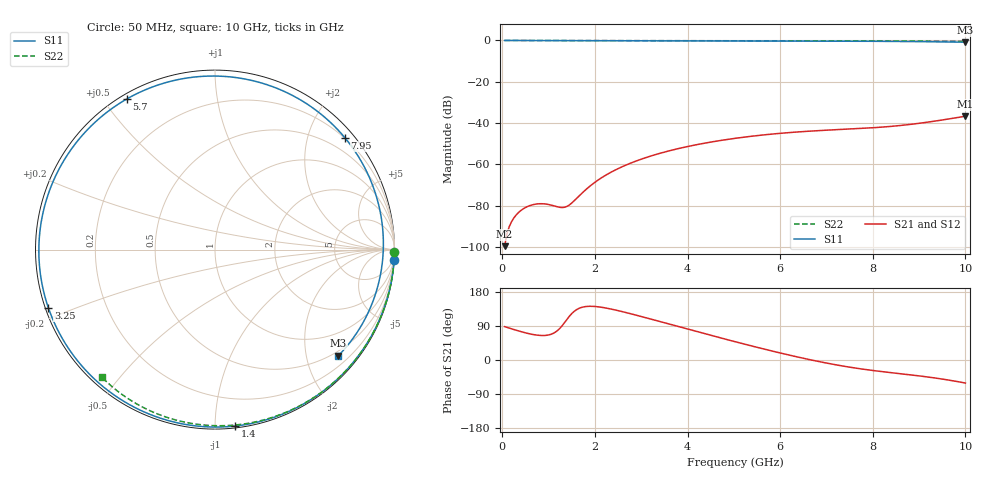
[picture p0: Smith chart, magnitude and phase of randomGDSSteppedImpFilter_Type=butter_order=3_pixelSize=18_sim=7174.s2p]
! freq	dB(S11)	phase(S11)	dB(S12)	phase(S12)
!  dB(S21)	phase(S21)	dB(S22)	phase(S22)
!S-par simulation data
#  GHz  S  DB  R 50
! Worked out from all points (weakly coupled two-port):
!   200 points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, 50 MHz to 10 GHz, reference 50 ohm
!   highest |S21| = -36.67 dB at 10 GHz (marker M1); lowest = -99.6 dB at 50 MHz (marker M2)
!   lowest |S11| = -0.9 dB at 10 GHz (marker M3), VSWR 20.42, Z = 19.9 - j132 ohm
!   |S11| at or under -10 dB: nowhere
!   |S22| runs from -0.4 to 0.0 dB; largest |S21 - S12| = 0
!   S11 on the Smith chart (normalised r, x): 50 MHz: 0, -35; 1.4 GHz: 0.01, -1.12; 3.25 GHz: 0.01, -0.17; 5.7 GHz: 0.02, +0.57; 7.95 GHz: 0.19, +2.69; 10 GHz: 0.40, -2.65
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0.05  -0.00 -3.3  -99.57 88.1  -99.57 88.1  -0.00 -0.8
0.4  -0.04 -25.7  -82.33 75.0  -82.33 75.0  -0.01 -6.1
0.75  -0.06 -47.2  -79.13 65.6  -79.13 65.6  -0.01 -11.3
1.05  -0.08 -64.6  -79.66 67.8  -79.66 67.8  -0.02 -15.8
1.4  -0.09 -83.5  -80.28 107.8  -80.28 107.8  -0.03 -21.1
1.75  -0.11 -100.7  -73.29 140.0  -73.29 140.0  -0.03 -26.2
2.05  -0.12 -114.3  -67.85 140.7  -67.85 140.7  -0.04 -30.6
2.4  -0.12 -129.0  -63.15 133.1  -63.15 133.1  -0.05 -35.7
2.8  -0.13 -144.5  -59.12 121.2  -59.12 121.2  -0.05 -41.5
3.25  -0.15 -160.6  -55.64 106.6  -55.64 106.6  -0.06 -47.8
3.4  -0.15 -165.8  -54.65 101.6  -54.65 101.6  -0.07 -50.0
4.2  -0.18 168.0  -50.43 75.0  -50.43 75.0  -0.09 -61.0
5.05  -0.21 141.1  -47.30 47.5  -47.30 47.5  -0.11 -72.3
5.7  -0.24 120.3  -45.59 27.4  -45.59 27.4  -0.13 -80.7
6.2  -0.27 103.8  -44.58 12.8  -44.58 12.8  -0.16 -87.0
6.7  -0.30 86.7  -43.81 -0.7  -43.81 -0.7  -0.18 -93.2
7.3  -0.34 65.1  -43.09 -14.8  -43.09 -14.8  -0.21 -100.4
7.95  -0.40 40.7  -42.33 -26.9  -42.33 -26.9  -0.26 -108.1
8.35  -0.45 25.1  -41.68 -32.8  -41.68 -32.8  -0.29 -112.8
8.75  -0.51 9.3  -40.79 -38.3  -40.79 -38.3  -0.32 -117.4
9.15  -0.60 -6.7  -39.65 -44.2  -39.65 -44.2  -0.36 -122.0
10  -0.85 -40.7  -36.67 -60.8  -36.67 -60.8  -0.45 -131.6
